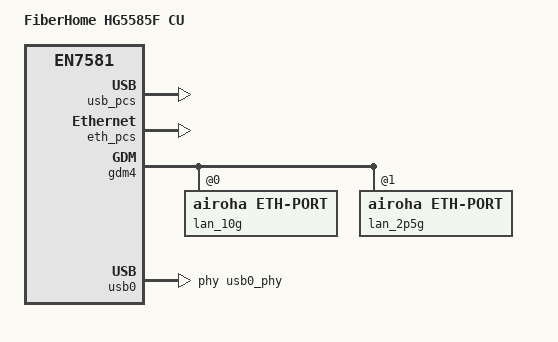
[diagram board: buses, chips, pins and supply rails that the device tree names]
// SPDX-License-Identifier: (GPL-2.0-only OR BSD-2-Clause)
/dts-v1/;

#include "an7581-fiberhome-hg5585f-cu-common.dtsi"

/ {
	model = "FiberHome HG5585F CU";
	compatible = "fiberhome,hg5585f-cu", "airoha,an7581", "airoha,en7581";
	variant = "usb-sfp";
};

&usb_pcs {
	status = "okay";
};

&eth_pcs {
	status = "okay";
};

&gdm4 {
	/delete-property/ pcs-handle;
	#address-cells = <1>;
	#size-cells = <0>;
	status = "okay";

	lan_10g: ethernet-port@0 {
		compatible = "airoha,eth-port";
		reg = <0>;
		managed = "in-band-status";
		pcs-handle = <&eth_pcs>;
		phy-mode = "10gbase-r";
		nvmem-cell-names = "mac-address";
		nvmem-cells = <&fiberhome_base_mac 2>;
		openwrt,netdev-name = "lan5";
		status = "okay";
	};

	lan_2p5g: ethernet-port@1 {
		compatible = "airoha,eth-port";
		reg = <1>;
		managed = "in-band-status";
		pcs-handle = <&usb_pcs>;
		phy-mode = "2500base-x";
		nvmem-cell-names = "mac-address";
		nvmem-cells = <&fiberhome_base_mac 3>;
		openwrt,netdev-name = "lan6";
		status = "okay";
	};
};

&usb0 {
	mediatek,u3p-dis-msk = <0x1>;
    phys = <&usb0_phy PHY_TYPE_USB2>;

	#address-cells = <1>;
	#size-cells = <0>;

	usb_port1: port@1 {
		reg = <1>;
		#trigger-source-cells = <0>;
	};
};
